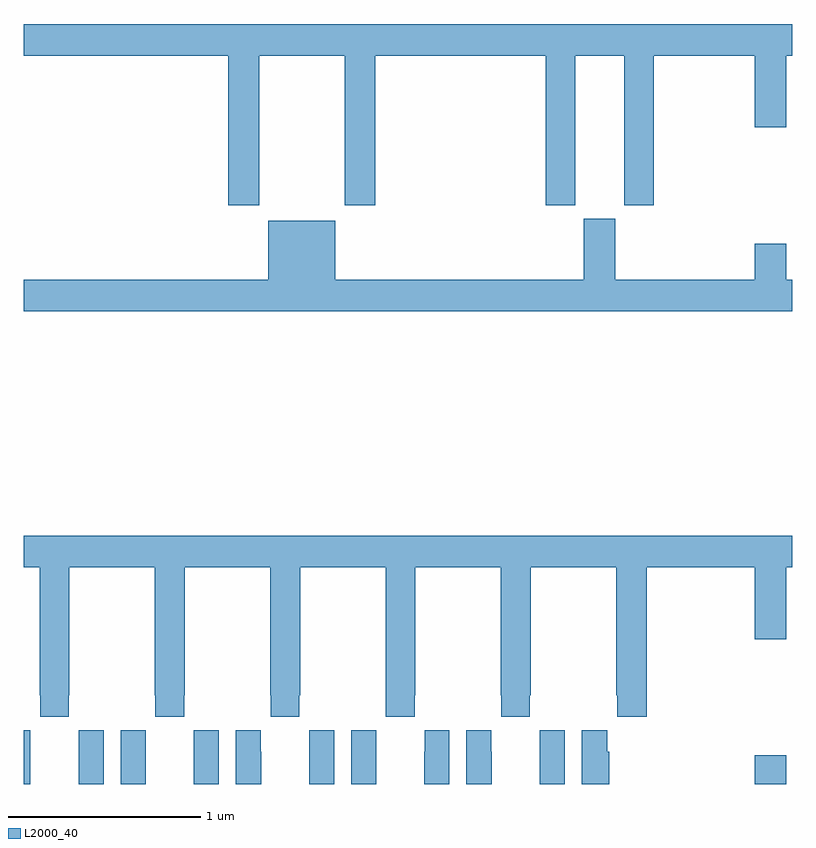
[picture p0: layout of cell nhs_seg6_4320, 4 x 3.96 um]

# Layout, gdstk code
import gdstk
lib = gdstk.Library(unit=1e-6, precision=1e-09)
def R(c, l, rs):  # rectangles x0, y0, x1, y1
    for r in rs: c.add(gdstk.rectangle(r[:2], r[2:], *l))
def P(c, l, *ps):  # polygons
    for p in ps: c.add(gdstk.Polygon(p, *l))
L2000_40 = (2000, 40)

nhs_seg6_4320 = lib.new_cell('nhs_seg6_4320')
R(nhs_seg6_4320, L2000_40, [(368.804,987.5,368.968,987.649)])
P(nhs_seg6_4320, L2000_40, [(366.225,991.292),(366.67,991.292),(366.67,990.513),(366.83,990.513),(366.83,991.292),(367.718,991.292),(367.718,990.513),(367.87,990.513),(367.87,991.292),(368.126,991.292),(368.126,990.513),(368.279,990.513),(368.279,991.292),(368.804,991.292),(368.804,990.918),(368.968,990.918),(368.968,991.292),(369,991.292),(369,991.456),(365,991.456),(365,991.292),(366.065,991.292),(366.065,990.513),(366.225,990.513)],
  [(369,990.124),(368.968,990.124),(368.968,990.313),(368.804,990.313),(368.804,990.124),(368.08,990.124),(368.08,990.441),(367.916,990.441),(367.916,990.124),(366.622,990.124),(366.622,990.433),(366.272,990.433),(366.272,990.124),(365,990.124),(365,989.96),(369,989.96)],
  [(365.235,987.961),(365.238,987.961),(365.238,988.628),(365.683,988.628),(365.683,987.961),(365.685,987.961),(365.685,987.849),(365.835,987.849),(365.835,987.961),(365.838,987.961),(365.838,988.628),(366.283,988.628),(366.283,987.961),(366.285,987.961),(366.285,987.849),(366.435,987.849),(366.435,987.961),(366.438,987.961),(366.438,988.628),(366.883,988.628),(366.883,987.961),(366.885,987.961),(366.885,987.849),(367.035,987.849),(367.035,987.961),(367.038,987.961),(367.038,988.628),(367.483,988.628),(367.483,987.961),(367.485,987.961),(367.485,987.849),(367.635,987.849),(367.635,987.961),(367.638,987.961),(367.638,988.628),(368.083,988.628),(368.083,987.961),(368.089,987.961),(368.089,987.849),(368.243,987.849),(368.243,988.628),(368.804,988.628),(368.804,988.254),(368.968,988.254),(368.968,988.628),(369,988.628),(369,988.792),(365,988.792),(365,988.628),(365.083,988.628),(365.083,987.961),(365.085,987.961),(365.085,987.849),(365.235,987.849)],
  [(367.816,987.781),(367.686,987.781),(367.686,987.668),(367.685,987.668),(367.685,987.5),(367.816,987.5)],
  [(367.435,987.668),(367.434,987.668),(367.434,987.781),(367.304,987.781),(367.304,987.5),(367.435,987.5)],
  [(368.048,987.668),(368.038,987.668),(368.038,987.781),(367.904,987.781),(367.904,987.5),(368.048,987.5)],
  [(367.216,987.781),(367.086,987.781),(367.086,987.668),(367.085,987.668),(367.085,987.5),(367.216,987.5)],
  [(366.835,987.668),(366.834,987.668),(366.834,987.781),(366.704,987.781),(366.704,987.5),(366.835,987.5)],
  [(366.616,987.781),(366.486,987.781),(366.486,987.668),(366.485,987.668),(366.485,987.5),(366.616,987.5)],
  [(366.235,987.668),(366.234,987.668),(366.234,987.781),(366.104,987.781),(366.104,987.5),(366.235,987.5)],
  [(366.016,987.781),(365.886,987.781),(365.886,987.668),(365.885,987.668),(365.885,987.5),(366.016,987.5)],
  [(365.416,987.781),(365.286,987.781),(365.286,987.668),(365.285,987.668),(365.285,987.5),(365.416,987.5)],
  [(365.635,987.668),(365.634,987.668),(365.634,987.781),(365.504,987.781),(365.504,987.5),(365.635,987.5)],
  [(365.035,987.668),(365.034,987.668),(365.034,987.781),(365,987.781),(365,987.5),(365.035,987.5)])

lib.write_gds('nhs_seg6_4320.gds')
